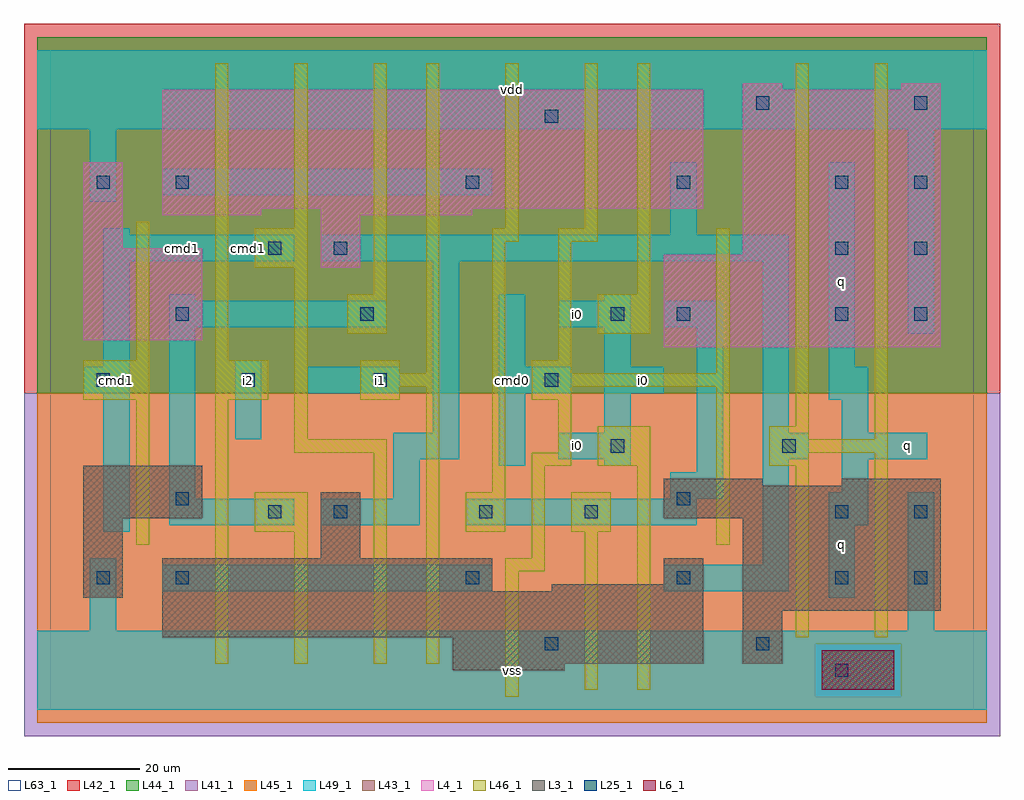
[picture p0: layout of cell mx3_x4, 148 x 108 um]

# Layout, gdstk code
import gdstk
lib = gdstk.Library(unit=1e-6, precision=1e-09)
def R(c, l, rs):  # rectangles x0, y0, x1, y1
    for r in rs: c.add(gdstk.rectangle(r[:2], r[2:], *l))
def A(c, l, x, y, w, h, nx, ny, dx, dy):  # array of equal rectangles
    R(c, l, [(x+i*dx, y+j*dy, x+i*dx+w, y+j*dy+h) for i in range(nx) for j in range(ny)])
L3_1 = (3, 1)
L4_1 = (4, 1)
L6_1 = (6, 1)
L25_1 = (25, 1)
L41_1 = (41, 1)
L42_1 = (42, 1)
L43_1 = (43, 1)
L44_1 = (44, 1)
L45_1 = (45, 1)
L46_1 = (46, 1)
L49_1 = (49, 1)
L63_1 = (63, 1)

mx3_x4 = lib.new_cell('mx3_x4')
R(mx3_x4, L3_1, [(61,6,78,7), (61,7,99,11), (105,7,111,15), (17,11,99,18), (105,15,135,29), (5,17,11,29), (17,18,67,23), (76,18,99,19), (93,19,99,23), (41,23,47,33), (5,29,23,37), (93,29,135,34), (93,34,108,35), (120,34,135,35)])
R(mx3_x4, L4_1, [(93,55,135,69), (5,56,23,70), (41,67,47,75), (105,69,135,94), (5,70,11,83), (17,75,32,76), (41,75,64,76), (17,76,99,94), (105,94,111,95), (129,94,135,95)])
R(mx3_x4, L6_1, [(117,3,128,9), (117,3,128,9)])
A(mx3_x4, L25_1, 75, 9, 2, 2, 1, 3, 0, 40)
A(mx3_x4, L25_1, 7, 19, 2, 2, 1, 3, 0, 30)
A(mx3_x4, L25_1, 119, 59, 2, 2, 1, 3, 0, 10)
A(mx3_x4, L25_1, 131, 59, 2, 2, 1, 3, 0, 10)
R(mx3_x4, L25_1, [(119,5,121,7), (107,9,109,11), (19,19,21,21), (63,19,65,21), (95,19,97,21), (119,19,121,21), (131,19,133,21), (33,29,35,31), (43,29,45,31), (65,29,67,31), (81,29,83,31), (119,29,121,31), (131,29,133,31), (19,31,21,33), (95,31,97,33), (85,39,87,41), (111,39,113,41), (29,49,31,51), (49,49,51,51), (19,59,21,61), (47,59,49,61), (85,59,87,61), (95,59,97,61), (33,69,35,71), (43,69,45,71), (19,79,21,81), (63,79,65,81), (95,79,97,81), (107,91,109,93), (131,91,133,93)])
R(mx3_x4, L41_1, [(-4,-4,144,48)])
R(mx3_x4, L42_1, [(-4,48,144,104)])
R(mx3_x4, L43_1, [(117,3,128,9), (61,6,78,7), (61,7,99,11), (105,7,111,15), (17,11,99,18), (105,15,135,29), (5,17,11,29), (17,18,67,23), (76,18,99,19), (93,19,99,23), (41,23,47,33), (5,29,23,37), (93,29,135,34), (93,34,108,35), (120,34,135,35), (93,55,135,69), (5,56,23,70), (41,67,47,75), (105,69,135,94), (5,70,11,83), (17,75,32,76), (41,75,64,76), (17,76,99,94), (105,94,111,95), (129,94,135,95)])
R(mx3_x4, L44_1, [(116,2,129,10), (-2,48,142,102)])
R(mx3_x4, L45_1, [(-2,-2,142,2), (-2,2,116,10), (129,2,142,10), (-2,10,142,48)])
R(mx3_x4, L46_1, [(69,2,71,21), (81,3,83,27), (89,3,91,37), (25,7,27,47), (37,7,39,27), (49,7,51,39), (57,7,59,49), (113,11,115,37), (125,11,127,39), (69,21,75,23), (73,23,75,37), (13,25,15,47), (101,25,103,49), (31,27,39,33), (63,27,69,33), (79,27,85,33), (67,33,69,71), (73,37,79,39), (83,37,91,43), (109,37,115,39), (37,39,51,41), (77,39,79,47), (109,39,127,41), (37,41,39,67), (109,41,115,43), (125,41,127,98), (113,43,115,98), (5,47,15,53), (25,47,33,53), (47,47,53,49), (73,47,79,49), (47,49,59,51), (73,49,103,51), (47,51,53,53), (57,51,59,98), (73,51,79,53), (101,51,103,73), (13,53,15,74), (25,53,27,98), (77,53,79,71), (45,57,51,63), (83,57,91,63), (49,63,51,98), (89,63,91,98), (31,67,39,73), (67,71,71,73), (77,71,83,73), (37,73,39,98), (69,73,71,98), (81,73,83,98)])
R(mx3_x4, L49_1, [(-2,0,142,12), (6,12,10,23), (130,12,134,33), (118,17,122,28), (17,18,67,22), (93,18,112,22), (108,22,112,38), (8,27,12,48), (18,28,37,32), (41,28,56,32), (63,28,98,32), (118,28,124,33), (18,32,22,58), (52,32,56,38), (94,32,102,36), (120,33,124,38), (98,36,102,58), (68,37,72,48), (84,37,88,38), (52,38,62,42), (77,38,88,42), (108,38,115,42), (120,38,133,42), (28,41,32,53), (58,42,62,68), (84,42,88,48), (108,42,112,68), (120,42,124,47), (118,47,124,52), (5,48,12,52), (39,48,53,52), (68,48,79,52), (84,48,93,52), (8,52,12,68), (68,52,72,63), (84,52,88,58), (118,52,122,83), (130,57,134,88), (18,58,51,62), (77,58,88,62), (93,58,102,62), (18,62,22,63), (84,62,88,63), (8,68,37,72), (41,68,112,72), (8,72,12,73), (94,72,98,83), (6,77,10,88), (17,78,67,82), (-2,88,142,100)])
R(mx3_x4, L63_1, [(0,0,140,100)])
mx3_x4.add(gdstk.Label('cmd1', (10,50), layer=49, texttype=1))
mx3_x4.add(gdstk.Label('cmd1', (20,70), layer=49, texttype=1))
mx3_x4.add(gdstk.Label('i2', (30,50), layer=49, texttype=1))
mx3_x4.add(gdstk.Label('i1', (50,50), layer=49, texttype=1))
mx3_x4.add(gdstk.Label('cmd1', (30,70), layer=49, texttype=1))
mx3_x4.add(gdstk.Label('vss', (70,6), layer=49, texttype=1))
mx3_x4.add(gdstk.Label('i0', (80,40), layer=49, texttype=1))
mx3_x4.add(gdstk.Label('cmd0', (70,50), layer=49, texttype=1))
mx3_x4.add(gdstk.Label('i0', (80,60), layer=49, texttype=1))
mx3_x4.add(gdstk.Label('vdd', (70,94), layer=49, texttype=1))
mx3_x4.add(gdstk.Label('i0', (90,50), layer=49, texttype=1))
mx3_x4.add(gdstk.Label('q', (120,25), layer=49, texttype=1))
mx3_x4.add(gdstk.Label('q', (130,40), layer=49, texttype=1))
mx3_x4.add(gdstk.Label('q', (120,65), layer=49, texttype=1))

lib.write_gds('mx3_x4.gds')
